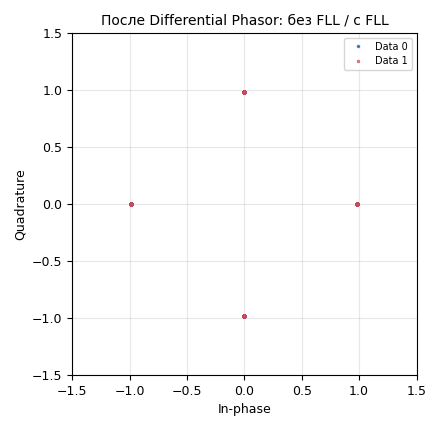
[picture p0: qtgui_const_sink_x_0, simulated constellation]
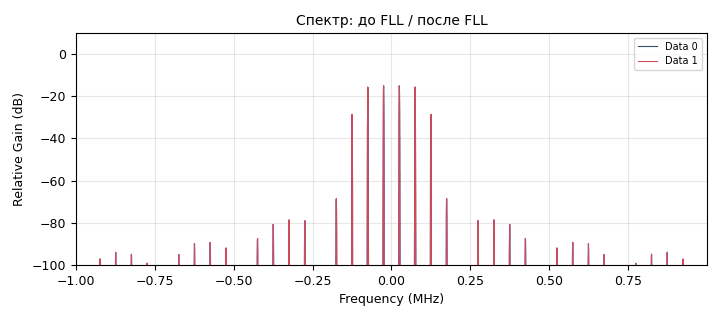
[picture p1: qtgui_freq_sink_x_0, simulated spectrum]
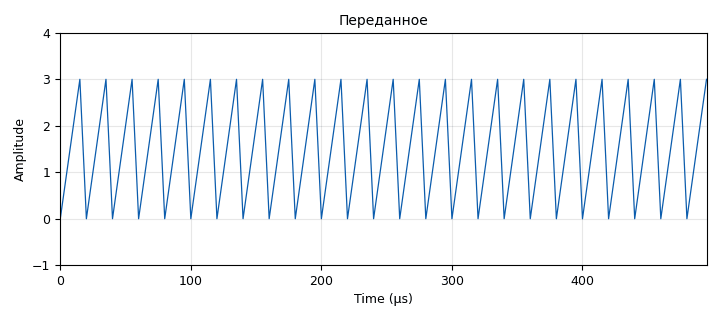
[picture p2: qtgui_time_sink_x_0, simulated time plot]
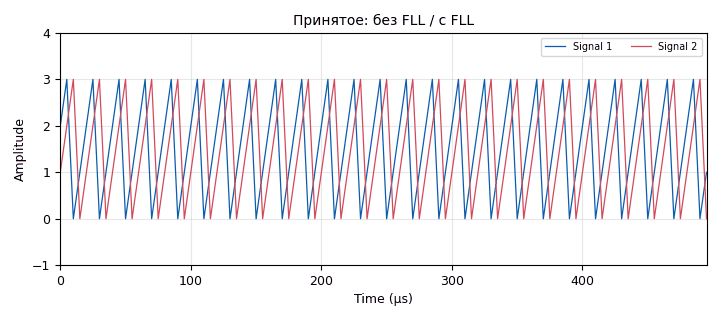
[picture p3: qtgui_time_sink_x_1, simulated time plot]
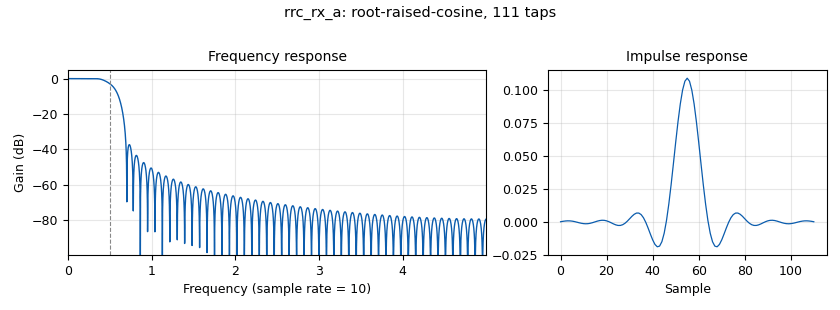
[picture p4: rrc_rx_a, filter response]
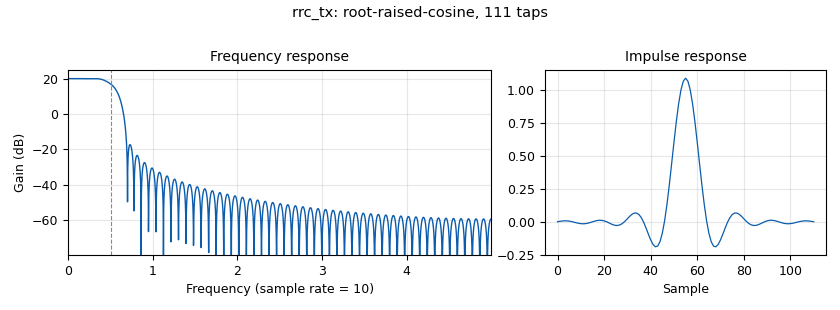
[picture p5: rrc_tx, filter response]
options:
  parameters:
    author: Lab5
    generate_options: qt_gui
    id: lab5_1_9_1_dqpsk_fll_simple
    output_language: python
    title: 'ЛР5 п.1.9.1  DQPSK: без АПЧ / с FLL (упрощённая)'
  states: {}

blocks:
- name: Rs
  id: variable
  parameters:
    value: samp_rate/sps
  states: {}
- name: alpha
  id: variable
  parameters:
    value: '0.35'
  states: {}
- name: dqpsk
  id: variable_constellation
  parameters:
    const_points: '[1, 1j, -1, -1j]'
    dims: '1'
    normalization: digital.constellation.AMPLITUDE_NORMALIZATION
    precision: '8'
    rot_sym: '4'
    sym_map: '[0, 1, 2, 3]'
    type: calcdist
  states: {}
- name: f
  id: variable_qtgui_range
  parameters:
    label: '"Расстройка частоты, Гц"'
    start: '-50000.0'
    step: '100'
    stop: '50000.0'
    value: '0'
  states: {}
- name: n
  id: variable_qtgui_range
  parameters:
    label: '"Noise Voltage, мВ"'
    start: '0'
    step: '1'
    stop: '1000'
    value: '0'
  states: {}
- name: samp_rate
  id: variable
  parameters:
    value: 2e6
  states: {}
- name: sps
  id: variable
  parameters:
    value: '10'
  states: {}
- name: blocks_throttle2_0
  id: blocks_throttle2
  parameters:
    samples_per_second: Rs
    type: byte
  states: {}
- name: blocks_uchar_to_float_0
  id: blocks_uchar_to_float
  parameters: {}
  states: {}
- name: blocks_uchar_to_float_1
  id: blocks_uchar_to_float
  parameters: {}
  states: {}
- name: blocks_uchar_to_float_2
  id: blocks_uchar_to_float
  parameters: {}
  states: {}
- name: channel
  id: channels_channel_model
  parameters:
    epsilon: '1.0'
    freq_offset: f/samp_rate
    noise_voltage: n*1e-3
    seed: '0'
    taps: '1.0'
  states: {}
- name: chunks2sym
  id: digital_chunks_to_symbols_xx
  parameters:
    dimension: '1'
    in_type: byte
    out_type: complex
    symbol_table: '[0.707+0.707j, -0.707+0.707j, -0.707-0.707j, 0.707-0.707j]'
  states: {}
- name: decoder_a
  id: digital_constellation_decoder_cb
  parameters:
    constellation: dqpsk
  states: {}
- name: decoder_b
  id: digital_constellation_decoder_cb
  parameters:
    constellation: dqpsk
  states: {}
- name: delay_a
  id: blocks_delay
  parameters:
    delay: '2'
    type: complex
  states: {}
- name: delay_b
  id: blocks_delay
  parameters:
    delay: '8'
    type: complex
  states: {}
- name: diff_enc
  id: digital_diff_encoder_bb
  parameters:
    coding: digital.DIFF_DIFFERENTIAL
    modulus: '4'
  states: {}
- name: diffphasor_a
  id: digital_diff_phasor_cc
  parameters: {}
  states: {}
- name: diffphasor_b
  id: digital_diff_phasor_cc
  parameters: {}
  states: {}
- name: fll
  id: digital_fll_band_edge_cc
  parameters:
    filter_size: '44'
    rolloff: alpha
    samps_per_sym: sps
    type: cc
    w: '0.00628'
  states: {}
- name: keep_a
  id: blocks_keep_one_in_n
  parameters:
    n: sps
    type: complex
  states: {}
- name: keep_b
  id: blocks_keep_one_in_n
  parameters:
    n: sps
    type: complex
  states: {}
- name: qtgui_const_sink_x_0
  id: qtgui_const_sink_x
  parameters:
    grid: 'True'
    name: '"После Differential Phasor: без FLL / с FLL"'
    nconnections: '2'
    size: '1024'
    type: complex
    xmax: '1.5'
    xmin: '-1.5'
    ymax: '1.5'
    ymin: '-1.5'
  states: {}
- name: qtgui_freq_sink_x_0
  id: qtgui_freq_sink_x
  parameters:
    average: '0.1'
    bw: samp_rate
    fc: '0'
    fftsize: '4096'
    grid: 'True'
    name: '"Спектр: до FLL / после FLL"'
    nconnections: '2'
    type: complex
    ymin: '-100'
  states: {}
- name: qtgui_time_sink_x_0
  id: qtgui_time_sink_x
  parameters:
    grid: 'True'
    name: '"Переданное"'
    size: '100'
    srate: Rs
    type: float
    ymax: '4'
  states: {}
- name: qtgui_time_sink_x_1
  id: qtgui_time_sink_x
  parameters:
    grid: 'True'
    name: '"Принятое: без FLL / с FLL"'
    nconnections: '2'
    size: '100'
    srate: Rs
    type: float
    ymax: '4'
  states: {}
- name: rrc_rx_a
  id: fir_filter_xxx
  parameters:
    decim: '1'
    taps: firdes.root_raised_cosine(1, sps, 1.0, alpha, 111)
    type: ccf
  states: {}
- name: rrc_rx_b
  id: fir_filter_xxx
  parameters:
    decim: '1'
    taps: firdes.root_raised_cosine(1, sps, 1.0, alpha, 111)
    type: ccf
  states: {}
- name: rrc_tx
  id: interp_fir_filter_xxx
  parameters:
    interp: sps
    taps: firdes.root_raised_cosine(sps, sps, 1.0, alpha, 111)
    type: ccf
  states: {}
- name: src
  id: blocks_vector_source_x
  parameters:
    repeat: 'True'
    type: byte
    vector: (0, 1, 2, 3)
  states: {}
- name: vsink
  id: virtual_sink
  parameters:
    stream_id: dqpsk
  states: {}
- name: vsrc
  id: virtual_source
  parameters:
    stream_id: dqpsk
  states: {}

connections:
- [blocks_throttle2_0, '0', blocks_uchar_to_float_0, '0']
- [blocks_throttle2_0, '0', diff_enc, '0']
- [blocks_uchar_to_float_0, '0', qtgui_time_sink_x_0, '0']
- [blocks_uchar_to_float_1, '0', qtgui_time_sink_x_1, '0']
- [blocks_uchar_to_float_2, '0', qtgui_time_sink_x_1, '1']
- [channel, '0', vsink, '0']
- [chunks2sym, '0', rrc_tx, '0']
- [decoder_a, '0', blocks_uchar_to_float_1, '0']
- [decoder_b, '0', blocks_uchar_to_float_2, '0']
- [delay_a, '0', keep_a, '0']
- [delay_b, '0', keep_b, '0']
- [diff_enc, '0', chunks2sym, '0']
- [diffphasor_a, '0', decoder_a, '0']
- [diffphasor_a, '0', qtgui_const_sink_x_0, '0']
- [diffphasor_b, '0', decoder_b, '0']
- [diffphasor_b, '0', qtgui_const_sink_x_0, '1']
- [fll, '0', qtgui_freq_sink_x_0, '1']
- [fll, '0', rrc_rx_b, '0']
- [keep_a, '0', diffphasor_a, '0']
- [keep_b, '0', diffphasor_b, '0']
- [rrc_rx_a, '0', delay_a, '0']
- [rrc_rx_b, '0', delay_b, '0']
- [rrc_tx, '0', channel, '0']
- [src, '0', blocks_throttle2_0, '0']
- [vsrc, '0', fll, '0']
- [vsrc, '0', qtgui_freq_sink_x_0, '0']
- [vsrc, '0', rrc_rx_a, '0']

metadata:
  file_format: 1
  grc_version: 3.10.12.0
